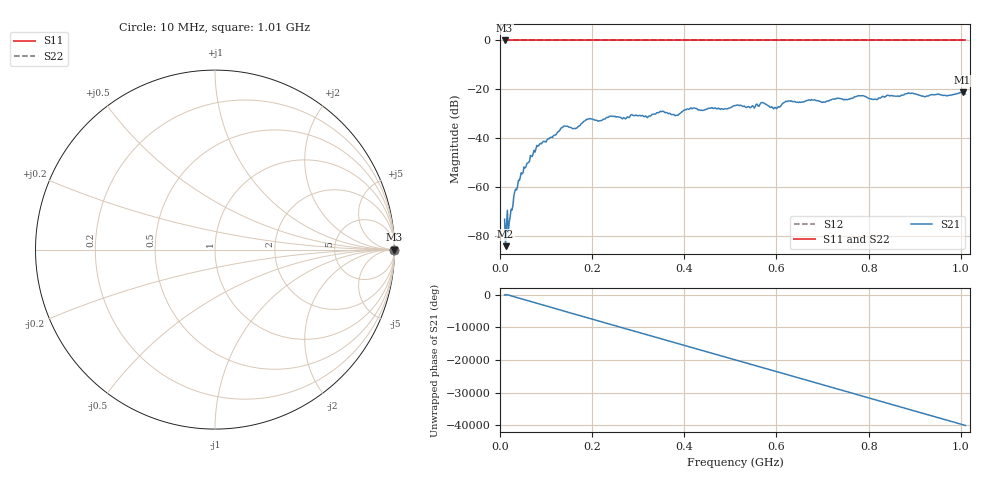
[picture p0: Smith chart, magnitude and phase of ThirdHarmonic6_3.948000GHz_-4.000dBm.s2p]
! 8/17/2025 1:59:22 PM
! C:\ANRITSUVNA\TEMP\TEMP.S2P
! CHANNEL.1
! TR.MEASUREMENT
! RAW.DATA
! RF.CORRECTION.OFF
! AVERAGING.OFF
! IF.BANDWIDTH: 5KHZ
! SWEEPTYPE:  FREQ.SWEEP(Linear)
! Reference Plane Port Info
! PORT:  PORT1  PORT2
! DISTANCE:  0  m  0  m
! TIME:  0  s  0  s
! PHASE.OFFSET:  0  deg.  0  deg.
! LOSS:  0  dB  0  dB
! REF.LOSS:  0  dB  0  dB
! REF.FREQ:  0  Hz  0  Hz
! Power Info
! POWER:  -20  dBm  -20  dBm
! EFF.POWER:  -20  dBm  -20  dBm
! SOURCE.ATTEN:  0  dB  0  dB
! TEST.ATTEN:  0  dB  0  dB
# GHZ S RI R 50.0
! FREQ.GHZ  S11RE  S11IM  S21RE  S21IM  S12RE  S12IM  S22RE  S22IM
!; PortSelection: Port_12
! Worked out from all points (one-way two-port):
!   501 points, 10 MHz to 1.01 GHz, reference 50 ohm
!   highest |S21| = -21.32 dB at 1.004 GHz (marker M1); lowest = -84.3 dB at 12 MHz (marker M2)
!   lowest |S11| = 0.0 dB at 10 MHz (marker M3)
!   |S11| at or under -10 dB: nowhere
!   |S22| runs from 0.0 to 0.0 dB; largest |S21 - S12| = 1.1
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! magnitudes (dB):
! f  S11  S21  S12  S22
! 10 MHz  0.0  -73.3  0.0  0.0
! 12 MHz  0.0  -84.3  0.0  0.0
! 16 MHz  0.0  -69.6  0.0  0.0
! 22 MHz  0.0  -72.4  0.0  0.0
! 34 MHz  0.0  -60.9  0.0  0.0
! 44 MHz  0.0  -56.0  0.0  0.0
! 82 MHz  0.0  -43.2  0.0  0.0
! 136 MHz  0.0  -35.6  0.0  0.0
! 162 MHz  0.0  -36.0  0.0  0.0
! 178 MHz  0.0  -33.9  0.0  0.0
! 192 MHz  0.0  -32.2  0.0  0.0
! 344 MHz  0.0  -29.6  0.0  0.0
! 382 MHz  0.0  -30.7  0.0  0.0
! 418 MHz  0.0  -27.9  0.0  0.0
! 510 MHz  0.0  -26.7  0.0  0.0
! 570 MHz  0.0  -25.5  0.0  0.0
! 598 MHz  0.0  -27.5  0.0  0.0
! 624 MHz  0.0  -25.0  0.0  0.0
! 678 MHz  0.0  -24.4  0.0  0.0
! 844 MHz  0.0  -22.6  0.0  0.0
! 1.004 GHz  0.0  -21.3  0.0  0.0
! 1.01 GHz  0.0  -21.9  0.0  0.0
